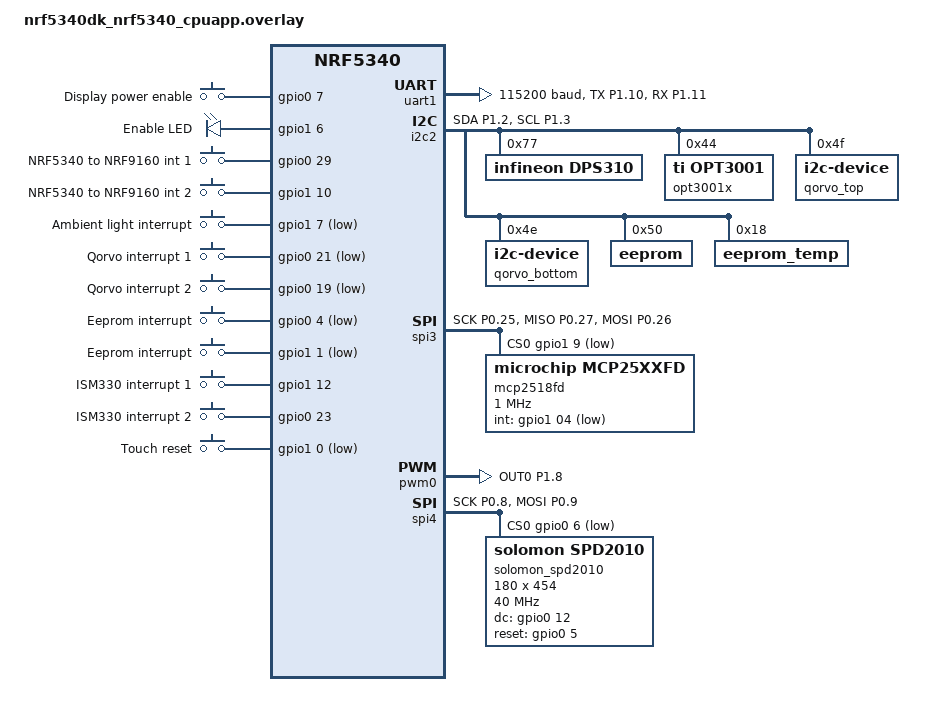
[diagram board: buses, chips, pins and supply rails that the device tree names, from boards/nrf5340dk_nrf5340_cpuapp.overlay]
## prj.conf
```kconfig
CONFIG_POLL=y
CONFIG_CAN=y
CONFIG_CAN_INIT_PRIORITY=80
CONFIG_CAN_MAX_FILTER=5

CONFIG_SHELL=y
CONFIG_CAN_SHELL=y
CONFIG_DEVICE_SHELL=y

CONFIG_GPIO=y
CONFIG_STATS=y
CONFIG_STATS_NAMES=y
CONFIG_STATS_SHELL=y
CONFIG_CAN_STATS=y

CONFIG_CAN_MCP251XFD=y
CONFIG_SPI=y
CONFIG_CAN_AUTO_BUS_OFF_RECOVERY=y
CONFIG_CLOCK_CONTROL=y
CONFIG_LOG=y
CONFIG_CAN_LOG_LEVEL_DBG=y
# CONFIG_CAN_FD_MODE=y
```

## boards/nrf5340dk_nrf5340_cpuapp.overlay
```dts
/ {
	chosen {
	  zephyr,console = &uart0;
	  zephyr,display = &spd2010;
	  zephyr,canbus = &mcp2518fd;
	};
  
	power_supply_pins {
	  compatible = "gpio-keys";
		display_pwr_en: display_pwr {
		  gpios = <&gpio0 7 GPIO_ACTIVE_HIGH>;
		  label = "Display power enable";
		};
	};
  
	leds {
	  compatible = "gpio-leds";
		rgb_led_en: rgb_led {
		  gpios = <&gpio1 6 GPIO_ACTIVE_HIGH>;
		  label = "Enable LED";
		};
	};
  
	interrupt_pins {
	  compatible = "gpio-keys";
		system_interrupt_1: system_int_1 {
		  gpios = <&gpio0 29 GPIO_ACTIVE_HIGH>;
		  label = "NRF5340 to NRF9160 int 1";
		}; 
		system_interrupt_2: system_int_2 {
		  gpios = <&gpio1 10 GPIO_ACTIVE_HIGH>;
		  label = "NRF5340 to NRF9160 int 2";
		};
		amb_light_interrupt: amb_light_int {
		  gpios = <&gpio1 7 GPIO_ACTIVE_LOW>;
		  label = "Ambient light interrupt";
		};
		qorvo_interrupt_1: qorvo_int_1 {
		  gpios = <&gpio0 21 GPIO_ACTIVE_LOW>;
		  label = "Qorvo interrupt 1";
		}; 
		qorvo_interrupt_2: qorvo_int_2 {
		  gpios = <&gpio0 19 GPIO_ACTIVE_LOW>;
		  label = "Qorvo interrupt 2";
		};
		eeprom_interrupt: eeprom_int {
		  gpios = <&gpio0 4 GPIO_ACTIVE_LOW>;
		  label = "Eeprom interrupt";
		}; 
		touch_interrupt: touch_int {
		  gpios = <&gpio1 1 GPIO_ACTIVE_LOW>;
		  label = "Eeprom interrupt";
		}; 
		ism330_interrupt_1: ism330_int_1 {
		  // TODO: Commented is the pin on the real pcb;
		  // currently used by CAN MCP2518FD controller;
		  // uncomment when pcb is manufactured
		  // gpios = <&gpio1 9 GPIO_ACTIVE_HIGH>;
		  gpios = <&gpio1 12 GPIO_ACTIVE_HIGH>;
		  label = "ISM330 interrupt 1";
		};
		ism330_interrupt_2: ism330_int_2 {
		  gpios = <&gpio0 23 GPIO_ACTIVE_HIGH>;
		  label = "ISM330 interrupt 2";
		}; 
	};
  
  
	reset_pins {
	  compatible = "gpio-keys";
		touch_reset: touch_rst {
		  gpios = <&gpio1 0 GPIO_ACTIVE_LOW>;
		  label = "Touch reset";
		};
	};
  
	aliases {
	  uart-link-nrf9160 = &uart1;
	  backlight-pwm = &pwm0;
	  display-pwr = &display_pwr_en;
	  led = &rgb_led_en;
	  system-int1 = &system_interrupt_1;
	  system-int2 = &system_interrupt_2;
	  amblight-int = &amb_light_interrupt;
	  qorvo-int1 = &qorvo_interrupt_1;
	  qorvo-int2 = &qorvo_interrupt_2;
	  eeprom-temp-int = &eeprom_interrupt;
	  touch-interrupt = &touch_interrupt;
	  ism330-interrupt1 = &ism330_interrupt_1;
	  ism330-interrupt2 = &ism330_interrupt_2;
	  touch-reset = &touch_reset;
	};
  
  };
  
  &pinctrl {
	uart1_default: uart1_default {
	  group1 {
		psels = <NRF_PSEL(UART_TX, 1, 10)>;
	  };
	  group2 {
		psels = <NRF_PSEL(UART_RX, 1, 11)>;
		bias-pull-up;
	  };
	};
  
	uart1_sleep: uart1_sleep {
	  group1 {
		psels = <NRF_PSEL(UART_TX, 1, 10)>,
				<NRF_PSEL(UART_RX, 1, 11)>;
		low-power-enable;
	  };
	};
	
  
	i2c2_default: i2c2_default {
	  group1 {
		psels = <NRF_PSEL(TWIM_SDA, 1, 2)>,
		  <NRF_PSEL(TWIM_SCL, 1, 3)>;
	  };
	};
  
	i2c2_sleep: i2c2_sleep {
	  group1 {
		psels = <NRF_PSEL(TWIM_SDA, 1, 2)>,
		  <NRF_PSEL(TWIM_SCL, 1, 3)>;
		low-power-enable;
	  };
	};
  
	spi3_default: spi3_default {
	  group1 {
		psels = <NRF_PSEL(SPIM_SCK, 0, 25)>,
		<NRF_PSEL(SPIM_MISO, 0, 27)>,
		<NRF_PSEL(SPIM_MOSI, 0, 26)>;
	  };     
	};
  
	spi3_sleep: spi3_sleep {
	  group1 {
		psels = <NRF_PSEL(SPIM_SCK, 0, 25)>,
		<NRF_PSEL(SPIM_MISO, 0, 27)>,
		<NRF_PSEL(SPIM_MOSI, 0, 26)>;
		low-power-enable;
	  };
	};
  
	spi4_default: spi4_default {
	  group1 {
		psels = <NRF_PSEL(SPIM_SCK, 0, 8)>,
		<NRF_PSEL(SPIM_MOSI, 0, 9)>;
	  };
	};
  
	spi4_sleep: spi4_sleep {
	  group1 {
		psels = <NRF_PSEL(SPIM_SCK, 0, 8)>,
		<NRF_PSEL(SPIM_MOSI, 0, 9)>;
		low-power-enable;
	  };
	};
  
  
	pwm0_default: pwm0_default {
	  group1 {
			  psels = <NRF_PSEL(PWM_OUT0, 1, 8)>;
			  nordic,invert;
	  };
	};
  
	pwm0_sleep: pwm0_sleep {
	  group1 {
			  psels = <NRF_PSEL(PWM_OUT0, 1, 8)>;
			  low-power-enable;
	  };
	};
  
  };
  
  &uart1 {
	status = "okay";
	compatible = "nordic,nrf-uarte";
	current-speed = <115200>;
	pinctrl-0 = <&uart1_default>;
	pinctrl-1 = <&uart1_sleep>;
	pinctrl-names = "default", "sleep";
  };
  
  /* Needs disabling since i2c1 and spi1 share the same address space. */
  &i2c1 {
	  status = "disabled";
  };
  
  &i2c2 {
	compatible = "nordic,nrf-twim";
	status = "okay";
	pinctrl-0 = <&i2c2_default>;
	pinctrl-1 = <&i2c2_sleep>;
	pinctrl-names = "default", "sleep";
	
	dps310@77 {
	  compatible = "infineon,dps310";
	  reg = <0x77>;
	};
  
	opt3001x@44 {
	  compatible = "ti,opt3001";
	  reg = <0x44>;
	};
	
	qorvo_top:qorvo_top@4f{
	  compatible = "i2c-device";
	  reg = < 0x4f>;
	  };
  
	qorvo_bottom:qorvo_bottom@4e{
	  compatible = "i2c-device";
	  reg = < 0x4e>;
	 };
  
	eeprom: eeprom@50 {
	  reg = <0x50>;
	};
  
	eeprom_temp: eeprom_temp@18 {
	  reg = <0x18>;
	};
  };
  
  &spi3 {
	compatible = "nordic,nrf-spim";
	status = "okay";
	pinctrl-0 = <&spi3_default>;
	pinctrl-1 = <&spi3_sleep>;
	pinctrl-names = "default", "sleep";
	
	/*In Altium schematic CS is on P0.22 - change when pin will be free*/
	/* TODO - uncomment when the patch for ISM330 driver is applied*/ 
	/*cs-gpios = <&gpio1 9 GPIO_ACTIVE_LOW>;
	ism330dhcx: ism330dhcx@0 {
	  compatible = "st,ism330dhcx";
	  reg = <0x0>;
	  spi-max-frequency = <125000>;
	  }; */
  
	/* TODO - the right cs pin from schematic is unavailable on the nrf5340 proto board;
	change cs pin once PCB is manufactured*/
	/*cs-gpios = <&gpio0 20 GPIO_ACTIVE_LOW>;*/
	  cs-gpios = <&gpio1 9 GPIO_ACTIVE_LOW>;
	  mcp2518fd: canfd@0 {
		  compatible = "microchip,mcp25xxfd";
		  status = "okay";
  
		  spi-max-frequency = <1000000>;
	  /* TODO - the right int pin from schematic is unavailable on the nrf5340 proto board;
	  change int pin once PCB is manufactured*/
	  /*int-gpios = <&gpio1 13 GPIO_ACTIVE_LOW>;*/
		  int-gpios = <&gpio1 04 GPIO_ACTIVE_LOW>;
		  reg = <0x0>;
		  osc-freq = <40000000>;
		  bus-speed = <500000>;
		  bus-speed-data = <2000000>;
		  prop-seg = <0>;
		  phase-seg1 = <15>;
		  phase-seg2 = <4>;
		  sjw = <4>;
		  prop-seg-data = <0>;
		  phase-seg1-data = <7>;
		  phase-seg2-data = <2>;
		  sjw-data = <2>;
	  };
  };
  
  &pwm0 {
	  status = "okay";
	  pinctrl-0 = <&pwm0_default>;
	  pinctrl-1 = <&pwm0_sleep>;
	  pinctrl-names = "default", "sleep";
  };
  
  // TODO: check dc, cs and reset gpios once PCB is manufactured, 
  // it may be a bit different
  &spi4  {
	  status = "okay";
	  compatible = "nordic,nrf-spim";
	  pinctrl-0 = <&spi4_default>;
	  pinctrl-1 = <&spi4_sleep>;
	  pinctrl-names = "default", "sleep";
	  cs-gpios = <&gpio0 6 GPIO_ACTIVE_LOW>;
  
	  spd2010: spd2010@0 {
		  compatible = "solomon,spd2010";
		  status = "okay";
		  spi-max-frequency = <40000000>;
		  reg = <0>;
		  width = <180>;
		  height = <454>;
		  label = "solomon_spd2010";
		  dc-gpios = <&gpio0 12 GPIO_ACTIVE_HIGH>; 
		  reset-gpios = <&gpio0 5 GPIO_ACTIVE_HIGH>;
	  };
  };
  
```

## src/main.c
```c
/*
 * Copyright (c) 2018 Alexander Wachter
 *
 * SPDX-License-Identifier: Apache-2.0
 */

#include <stdio.h>

#include <zephyr/kernel.h>
#include <zephyr/sys/printk.h>
#include <zephyr/device.h>
#include <zephyr/drivers/can.h>
#include <zephyr/drivers/gpio.h>
#include <zephyr/sys/byteorder.h>

#include <zephyr/logging/log.h>
LOG_MODULE_REGISTER(can_fd);

#define RX_THREAD_STACK_SIZE 512
#define RX_THREAD_PRIORITY 2
#define STATE_POLL_THREAD_STACK_SIZE 512
#define STATE_POLL_THREAD_PRIORITY 2
#define LED_MSG_ID 0x10
#define COUNTER_MSG_ID 0x12345
#define SET_LED 1
#define RESET_LED 0
#define SLEEP_TIME K_MSEC(250)

K_THREAD_STACK_DEFINE(rx_thread_stack, RX_THREAD_STACK_SIZE);
K_THREAD_STACK_DEFINE(poll_state_stack, STATE_POLL_THREAD_STACK_SIZE);

const struct device *const can_dev = DEVICE_DT_GET(DT_CHOSEN(zephyr_canbus));

struct k_thread rx_thread_data;
CAN_MSGQ_DEFINE(counter_msgq, 2);

void tx_callback(const struct device *dev, int error, void *user_data)
{
	char *sender = (char *)user_data;

	if (error != 0) {
		printf("Sending failed [%d]\nSender: %s\n", error, sender);
	}
}

int send_function(const struct device *can_dev)
{
	struct can_frame frame = {
			.flags = 0,
			.id = 0x1234567,
			.dlc = 8
	};

	frame.data[0] = 1;
	frame.data[1] = 2;
	frame.data[2] = 3;
	frame.data[3] = 4;
	frame.data[4] = 5;
	frame.data[5] = 6;
	frame.data[6] = 7;
	frame.data[7] = 8;

	return can_send(can_dev, &frame, K_FOREVER, tx_callback, "Sender 1");
}


void rx_thread(void *arg1, void *arg2, void *arg3)
{
	ARG_UNUSED(arg1);
	ARG_UNUSED(arg2);
	ARG_UNUSED(arg3);
	const struct can_filter filter = {
		.flags = CAN_FILTER_DATA | CAN_FILTER_IDE,
		.id = COUNTER_MSG_ID,
		.mask = CAN_EXT_ID_MASK
	};
	struct can_frame frame;
	int filter_id;

	filter_id = can_add_rx_filter_msgq(can_dev, &counter_msgq, &filter);
	printf("Counter filter id: %d\n", filter_id);

	while (1) {
		k_msgq_get(&counter_msgq, &frame, K_FOREVER);

		if (frame.dlc != 2U) {
			printf("Wrong data length: %u\n", frame.dlc);
			continue;
		}

		printf("Counter received: %u\n",
		       sys_be16_to_cpu(UNALIGNED_GET((uint16_t *)&frame.data)));
	}
}

void can_rx_callback(const struct device *dev, struct can_frame *frame, void *arg)
{
    printf("Received CAN Frame\n");
    printf("ID: 0x%08X\n", frame->id);
    printf("DLC: %d\n", frame->dlc);
    printf("Data: ");
    for (int i = 0; i < frame->dlc; i++) {
        printf("%02X ", frame->data[i]);
    }
    printf("\n");
}

int main(void)
{

	// struct can_frame change_led_frame = {
	// 	.flags = 0,
	// 	.id = LED_MSG_ID,
	// 	.dlc = 1
	// };
	// struct can_frame counter_frame = {
	// 	.flags = CAN_FRAME_IDE,
	// 	.id = COUNTER_MSG_ID,
	// 	.dlc = 2
	// };

	// uint8_t toggle = 1;
	// uint16_t counter = 0;

	int ret;

	if (!device_is_ready(can_dev)) {
		printf("CAN: Device %s not ready.\n", can_dev->name);
		return 0;
	}

	can_set_bitrate(can_dev, 250000);

	ret = can_start(can_dev);
	if (ret != 0) {
		printf("Error starting CAN controller [%d]", ret);
		return 0;
	}

	struct can_frame frame = {
        .flags = 0,
        .id = COUNTER_MSG_ID,
        .dlc = 8,
        .data = {1,2,3,4,5,6,7,8}
	};

	k_tid_t rx_tid;
	rx_tid = k_thread_create(&rx_thread_data, rx_thread_stack,
				 K_THREAD_STACK_SIZEOF(rx_thread_stack),
				 rx_thread, NULL, NULL, NULL,
				 RX_THREAD_PRIORITY, 0, K_NO_WAIT);
	if (!rx_tid) {
		printf("ERROR spawning rx thread\n");
	}

	struct can_filter filter = {
        .id = COUNTER_MSG_ID,
        .mask = CAN_STD_ID_MASK,
        .flags = CAN_FILTER_DATA
    };

    ret = can_add_rx_filter(can_dev, can_rx_callback, NULL, &filter);
    if (ret < 0) {
        printf("Failed to add RX filter [%d]", ret);
        return 0;
    }

	while (1) {
		// change_led_frame.data[0] = toggle++ & 0x01 ? SET_LED : RESET_LED;
		// /* This sending call is none blocking. */
		// can_send(can_dev, &change_led_frame, K_FOREVER,
		// 	 NULL,
		// 	 "LED change");
		// k_sleep(SLEEP_TIME);

		// UNALIGNED_PUT(sys_cpu_to_be16(counter),
		// 	      (uint16_t *)&counter_frame.data[0]);
		// counter++;

		/* This sending call is blocking until the message is sent. */
		// can_send(can_dev, &counter_frame, K_MSEC(100), NULL, NULL);

		// k_sleep(SLEEP_TIME);
		// send_function(can_dev);

		ret = can_send(can_dev, &frame, K_MSEC(100), NULL, NULL);
		if (ret != 0) {
				LOG_ERR("Sending failed [%d]", ret);
		}

		k_sleep(SLEEP_TIME);
	}
}
```
